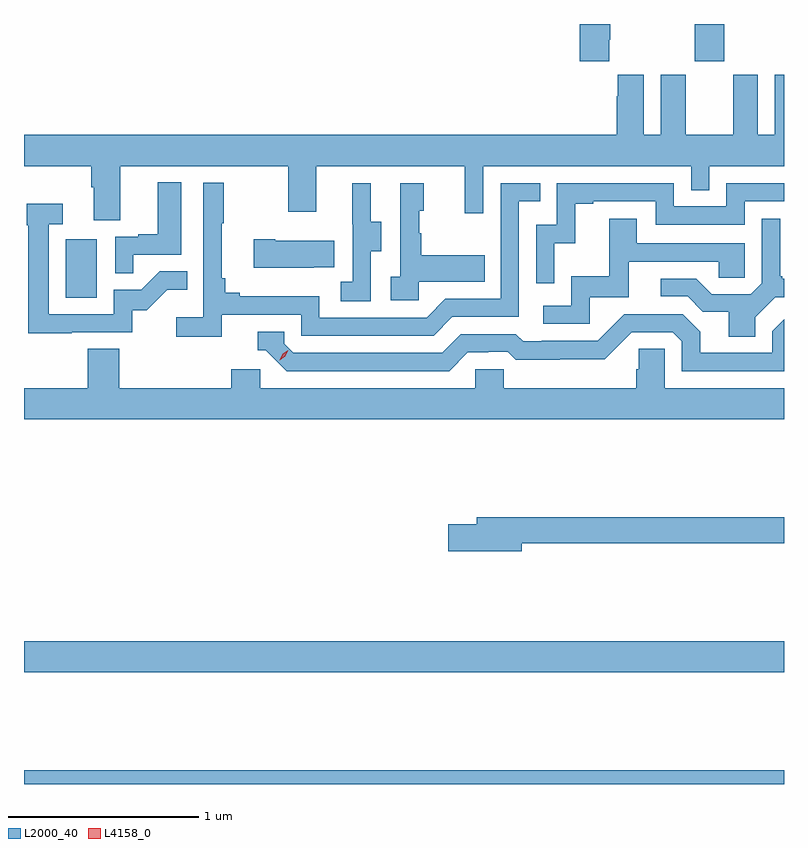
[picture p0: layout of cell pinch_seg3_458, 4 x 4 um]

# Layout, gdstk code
import gdstk
lib = gdstk.Library(unit=1e-6, precision=1e-09)
def R(c, l, rs):  # rectangles x0, y0, x1, y1
    for r in rs: c.add(gdstk.rectangle(r[:2], r[2:], *l))
def P(c, l, *ps):  # polygons
    for p in ps: c.add(gdstk.Polygon(p, *l))
L2000_40 = (2000, 40)
L4158_0 = (4158, 0)

pinch_seg3_458 = lib.new_cell('pinch_seg3_458')
R(pinch_seg3_458, L2000_40, [(911.687,667.028,915.687,667.1), (911.687,667.616,915.687,667.78), (911.906,669.588,912.07,669.895), (915.217,670.833,915.372,671.028)])
P(pinch_seg3_458, L2000_40, [(914.767,670.945),(914.772,670.945),(914.772,671.028),(914.612,671.028),(914.612,670.833),(914.767,670.833)],
  [(911.687,670.28),(912.041,670.28),(912.041,670.168),(912.053,670.168),(912.053,669.994),(912.193,669.994),(912.193,670.28),(913.078,670.28),(913.078,670.041),(913.225,670.041),(913.225,670.28),(914.006,670.28),(914.006,670.032),(914.103,670.032),(914.103,670.28),(915.198,670.28),(915.198,670.153),(915.294,670.153),(915.294,670.28),(915.687,670.28),(915.687,670.762),(915.638,670.762),(915.638,670.444),(915.55,670.444),(915.55,670.762),(915.419,670.762),(915.419,670.444),(915.169,670.444),(915.169,670.762),(915.038,670.762),(915.038,670.444),(914.95,670.444),(914.95,670.762),(914.813,670.762),(914.813,670.649),(914.807,670.649),(914.807,670.444),(911.687,670.444)],
  [(912.263,669.813),(912.514,669.813),(912.514,670.195),(912.392,670.195),(912.392,669.922),(912.289,669.922),(912.289,669.909),(912.168,669.909),(912.168,669.715),(912.263,669.715)],
  [(912.728,669.498),(913.146,669.498),(913.146,669.387),(913.843,669.387),(913.942,669.486),(914.292,669.486),(914.292,670.095),(914.405,670.095),(914.405,670.191),(914.196,670.191),(914.196,669.582),(913.905,669.582),(913.806,669.483),(913.242,669.483),(913.242,669.595),(912.823,669.595),(912.823,669.614),(912.746,669.614),(912.746,669.691),(912.727,669.691),(912.727,669.979),(912.739,669.979),(912.739,670.192),(912.63,670.192),(912.63,669.484),(912.489,669.484),(912.489,669.382),(912.728,669.382)],
  [(914.478,669.875),(914.588,669.875),(914.588,670.083),(914.683,670.083),(914.683,670.095),(915.012,670.095),(915.012,669.972),(915.48,669.972),(915.48,670.095),(915.687,670.095),(915.687,670.191),(915.384,670.191),(915.384,670.068),(915.108,670.068),(915.108,670.191),(914.49,670.191),(914.49,669.972),(914.382,669.972),(914.382,669.663),(914.478,669.663)],
  [(913.764,669.671),(914.111,669.671),(914.111,669.811),(913.777,669.811),(913.777,669.926),(913.767,669.926),(913.767,670.044),(913.792,670.044),(913.792,670.189),(913.668,670.189),(913.668,669.698),(913.617,669.698),(913.617,669.573),(913.764,669.573)],
  [(913.512,669.832),(913.567,669.832),(913.567,669.987),(913.513,669.987),(913.513,670.189),(913.415,670.189),(913.415,669.975),(913.416,669.975),(913.416,669.671),(913.353,669.671),(913.353,669.568),(913.512,669.568)],
  [(911.939,669.405),(912.258,669.405),(912.258,669.522),(912.334,669.522),(912.441,669.629),(912.545,669.629),(912.545,669.728),(912.402,669.728),(912.304,669.63),(912.159,669.63),(912.159,669.501),(911.817,669.501),(911.817,669.975),(911.89,669.975),(911.89,670.081),(911.701,670.081),(911.701,669.968),(911.709,669.968),(911.709,669.4),(911.939,669.4)],
  [(914.664,669.591),(914.869,669.591),(914.869,669.777),(915.343,669.777),(915.343,669.693),(915.48,669.693),(915.48,669.873),(914.911,669.873),(914.911,670.003),(914.767,670.003),(914.767,669.7),(914.568,669.7),(914.568,669.546),(914.421,669.546),(914.421,669.45),(914.664,669.45)],
  [(915.535,669.484),(915.642,669.591),(915.687,669.591),(915.687,669.688),(915.679,669.688),(915.679,669.7),(915.667,669.7),(915.667,670.003),(915.57,670.003),(915.57,669.663),(915.513,669.606),(915.307,669.606),(915.226,669.687),(915.039,669.687),(915.039,669.594),(915.18,669.594),(915.26,669.514),(915.395,669.514),(915.395,669.382),(915.535,669.382)],
  [(913.211,669.749),(913.319,669.749),(913.319,669.886),(913.009,669.886),(913.009,669.894),(912.897,669.894),(912.897,669.746),(913.211,669.746)],
  [(914.023,669.3),(914.13,669.3),(914.13,669.303),(914.233,669.303),(914.275,669.261),(914.508,669.261),(914.508,669.263),(914.744,669.263),(914.886,669.405),(915.102,669.405),(915.15,669.357),(915.15,669.201),(915.687,669.201),(915.687,669.474),(915.624,669.411),(915.624,669.297),(915.247,669.297),(915.247,669.407),(915.153,669.501),(914.847,669.501),(914.706,669.36),(914.413,669.36),(914.413,669.357),(914.314,669.357),(914.275,669.396),(913.986,669.396),(913.887,669.297),(913.104,669.297),(913.056,669.345),(913.056,669.408),(912.917,669.408),(912.917,669.312),(912.96,669.312),(913.071,669.201),(913.924,669.201)],
  [(915.687,669.112),(915.06,669.112),(915.06,669.32),(914.923,669.32),(914.923,669.21),(914.909,669.21),(914.909,669.112),(914.211,669.112),(914.211,669.21),(914.061,669.21),(914.061,669.112),(912.93,669.112),(912.93,669.21),(912.779,669.21),(912.779,669.112),(912.188,669.112),(912.188,669.32),(912.023,669.32),(912.023,669.112),(911.687,669.112),(911.687,668.948),(915.687,668.948)],
  [(914.308,668.296),(915.687,668.296),(915.687,668.432),(914.069,668.432),(914.069,668.396),(913.92,668.396),(913.92,668.254),(914.308,668.254)])
P(pinch_seg3_458, L4158_0, [(913.032,669.259),(913.032,669.26),(913.048,669.292),(913.079,669.312),(913.079,669.312),(913.079,669.312),(913.063,669.279),(913.032,669.259)])

lib.write_gds('pinch_seg3_458.gds')
